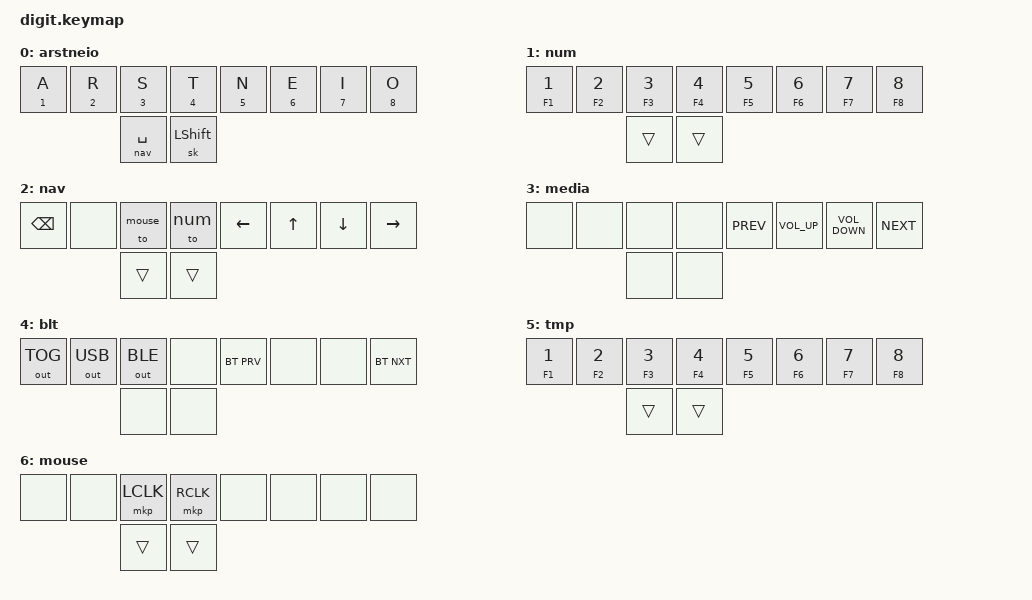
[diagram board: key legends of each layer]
#include <behaviors.dtsi>
#include <dt-bindings/zmk/keys.h>
#include <dt-bindings/zmk/bt.h>
#include <dt-bindings/zmk/mouse.h>
#include "util.h"
#include <dt-bindings/zmk/outputs.h>
&lt {
    tapping-term-ms = <250>;
    quick-tap-ms = <150>;
    flavor = "tap-preferred";
    require-prior-idle-ms = <80>;
    };
&mt {
    tapping-term-ms = <200>;
    quick-tap-ms = <150>;
    flavor = "tap-preferred";
    };
&sk {
    release-after-ms = <10000>;
    quick-release;
    };
#define arstneio 0
#define num 1
#define nav 2
#define media 3
#define blt 4
#define tmp 5
#define mouse 6

/ {
     behaviors {
             snv: spaceornav {
            compatible = "zmk,behavior-hold-tap";
            label = "holdtap";
            #binding-cells = <2>;
            tapping-term-ms = <300>;
            quick-tap-ms = <100>;
            global-quick-tap;
            bindings = <&mo>, <&kp>;
            require-prior-idle-ms = <30>;
            hold-trigger-key-positions = <4 5 6 7>;
         };
             sc: shiftorcaps {
            compatible = "zmk,behavior-tap-dance";
            label = "TAP_DANCE_0";
            #binding-cells = <0>;
            tapping-term-ms = <700>;
            bindings = <&sk LSHIFT>, <&mo num>;
        };

             bsp: bsphold {
            compatible = "zmk,behavior-hold-tap";
            label = "bsphold";
            #binding-cells = <2>;
            tapping-term-ms = <80>;
            flavor = "hold-preferred";
            quick-tap-ms = <10000>;
            bindings = <&kp>, <&kp>;
         };
             ee: entoresc {
            compatible = "zmk,behavior-mod-morph";
            label = "MOD_MORPH_EE";
            #binding-cells = <0>;
            bindings = <&kp ENTER>, <&kp ESC>;
            mods = <(MOD_LSFT)>;
        };

             htal: torhalt {
            compatible = "zmk,behavior-tap-dance";
            label = "TAP_DANCE_2";
            #binding-cells = <0>;
            tapping-term-ms = <500>;
            bindings = <&sk LALT>, <&kt LALT>;
        };
             htct: torhctrl {
            compatible = "zmk,behavior-tap-dance";
            label = "TAP_DANCE_2";
            #binding-cells = <0>;
            tapping-term-ms = <500>;
            bindings = <&sk LCTRL>, <&kt LCTRL>;
        };
             ZMK_MACRO(winright,
              wait-ms = <1>;
              tap-ms = <1>;
              bindings =<&macro_press &kp LALT>,
                        <&macro_tap &kp TAB>,
                        <&macro_release &kp LALT>;

              )
             ZMK_MACRO(winleft,
              wait-ms = <1>;
              tap-ms = <1>;
              bindings =<&macro_press &kp LALT>,
                        <&macro_tap &sk LSHIFT>,
                        <&macro_tap &kp TAB>,
                        <&macro_release &kp LALT>;
              )
             ZMK_MACRO(string_sim,
              wait-ms = <1>;
              tap-ms = <1>;
              bindings =<&kp S &kp I &kp M &kp U &kp L &kp A &kp T &kp I &kp O &kp N>;
              )
             ZMK_MACRO(string_what,
              wait-ms = <1>;
              tap-ms = <1>;
              bindings = <&kp W &kp H &kp A &kp T>;
              )

              ZMK_MACRO(string_had,
              wait-ms = <1>;
              tap-ms = <1>;
              bindings = <&kp H &kp A &kp D>;
              )
             ZMK_MACRO(string_who,
              wait-ms = <1>;
              tap-ms = <1>;
              bindings = <&kp W &kp H &kp O>;
              )
             ZMK_MACRO(string_qu,
              wait-ms = <1>;
              tap-ms = <1>;
              bindings = <&kp Q &kp U>;
              )
             ZMK_MACRO(string_mass,
              wait-ms = <1>;
              tap-ms = <1>;
              bindings = <&kp M &kp A &kp S &kp S>;
              )
             ZMK_MACRO(string_again,
              wait-ms = <1>;
              tap-ms = <1>;
              bindings = <&kp A &kp G &kp A &kp I &kp N>;
              )
             ZMK_MACRO(string_against,
              wait-ms = <1>;
              tap-ms = <1>;
              bindings = <&kp A &kp G &kp A &kp I &kp N &kp S &kp T>;
              )
             ZMK_MACRO(string_each,
              wait-ms = <1>;
              tap-ms = <1>;
              bindings = <&kp E &kp A &kp C &kp H>;
              )
             ZMK_MACRO(string_ink,
              wait-ms = <1>;
              tap-ms = <1>;
              bindings = <&kp I &kp N &kp K>;
              )
             ZMK_MACRO(string_change,
              wait-ms = <1>;
              tap-ms = <1>;
              bindings = <&kp C &kp H &kp A &kp N &kp G &kp E>;
              )
             ZMK_MACRO(string_system,
              wait-ms = <1>;
              tap-ms = <1>;
              bindings = <&kp S &kp Y &kp S &kp T &kp E &kp M>;
              )
             ZMK_MACRO(string_program,
              wait-ms = <1>;
              tap-ms = <1>;
              bindings = <&kp P &kp R &kp O &kp G &kp R &kp A &kp M>;
              )
             ZMK_MACRO(string_resolution,
              wait-ms = <1>;
              tap-ms = <1>;
              bindings = <&kp R &kp E &kp S &kp O &kp L &kp U &kp T &kp I &kp O &kp N>;
              )
             ZMK_MACRO(string_about,
              wait-ms = <1>;
              tap-ms = <1>;
              bindings = <&kp A &kp B &kp O &kp U &kp T>;
              )
             ZMK_MACRO(string_ever,
              wait-ms = <1>;
              tap-ms = <1>;
              bindings = <&kp E &kp V &kp E &kp R>;
              )
             ZMK_MACRO(string_come,
              wait-ms = <1>;
              tap-ms = <1>;
              bindings = <&kp C &kp O &kp M &kp E>;
              )
             ZMK_MACRO(string_cool,
              wait-ms = <1>;
              tap-ms = <1>;
              bindings = <&kp C &kp O &kp O &kp L>;
              )
             ZMK_MACRO(string_find,
              wait-ms = <1>;
              tap-ms = <1>;
              bindings = <&kp F &kp I &kp N &kp D>;
              )
             ZMK_MACRO(string_now,
              wait-ms = <1>;
              tap-ms = <1>;
              bindings = <&kp N &kp O &kp W>;
              )
             ZMK_MACRO(string_will,
              wait-ms = <1>;
              tap-ms = <1>;
              bindings = <&kp W &kp I &kp L &kp L>;
              )
             ZMK_MACRO(string_when,
              wait-ms = <1>;
              tap-ms = <1>;
              bindings = <&kp W &kp H &kp E &kp N>;
              )
             ZMK_MACRO(string_also,
              wait-ms = <1>;
              tap-ms = <1>;
              bindings = <&kp A &kp L &kp S &kp O>;
              )
             ZMK_MACRO(string_here,
              wait-ms = <1>;
              tap-ms = <1>;
              bindings = <&kp H &kp E &kp R &kp E>;
              )
             ZMK_MACRO(string_individual,
              wait-ms = <1>;
              tap-ms = <1>;
              bindings = <&kp I &kp N &kp D &kp I &kp V &kp I &kp D &kp U &kp A &kp L>;
              )
             ZMK_MACRO(string_has,
              wait-ms = <1>;
              tap-ms = <1>;
              bindings = <&kp H &kp A &kp S>;
              )
             ZMK_MACRO(string_basically,
              wait-ms = <1>;
              tap-ms = <1>;
              bindings = <&kp B &kp A &kp S &kp I &kp C &kp A &kp L &kp L &kp Y>;
              )
             ZMK_MACRO(string_away,
              wait-ms = <1>;
              tap-ms = <1>;
              bindings = <&kp A &kp W &kp A &kp Y>;
              )
             ZMK_MACRO(string_progress,
              wait-ms = <1>;
              tap-ms = <1>;
              bindings = <&kp P &kp R &kp O &kp G &kp R &kp E &kp S &kp S>;
              )
             ZMK_MACRO(string_use,
              wait-ms = <1>;
              tap-ms = <1>;
              bindings = <&kp U &kp S &kp E>;
              )
             ZMK_MACRO(string_same,
              wait-ms = <1>;
              tap-ms = <1>;
              bindings = <&kp S &kp A &kp M &kp E>;
              )
             ZMK_MACRO(string_going,
              wait-ms = <1>;
              tap-ms = <1>;
              bindings = <&kp G &kp O &kp I &kp N &kp G>;
              )
             ZMK_MACRO(string_was,
              wait-ms = <1>;
              tap-ms = <1>;
              bindings = <&kp W &kp A &kp S>;
              )
             ZMK_MACRO(string_range,
              wait-ms = <1>;
              tap-ms = <1>;
              bindings = <&kp R &kp A &kp N &kp G &kp E>;
              )
             ZMK_MACRO(string_out,
              wait-ms = <1>;
              tap-ms = <1>;
              bindings = <&kp O &kp U &kp T>;
              )
             ZMK_MACRO(string_astrophysics,
              wait-ms = <1>;
              tap-ms = <1>;
              bindings = <&kp A &kp S &kp T &kp R &kp O &kp P &kp H &kp Y &kp S &kp I &kp C &kp S>;
              )
             ZMK_MACRO(string_over,
              wait-ms = <1>;
              tap-ms = <1>;
              bindings = <&kp O &kp V &kp E &kp R>;
              )
             ZMK_MACRO(string_join,
              wait-ms = <1>;
              tap-ms = <1>;
              bindings = <&kp J &kp O &kp I &kp N>;
              )
             ZMK_MACRO(string_give,
              wait-ms = <1>;
              tap-ms = <1>;
              bindings = <&kp G &kp I &kp V &kp E>;
              )
             ZMK_MACRO(string_ously,
              wait-ms = <1>;
              tap-ms = <1>;
              bindings = <&kp O &kp U &kp S &kp L &kp Y>;
              )
             ZMK_MACRO(string_ous,
              wait-ms = <1>;
              tap-ms = <1>;
              bindings = <&kp O &kp U &kp S>;
              )
             ZMK_MACRO(string_say,
              wait-ms = <1>;
              tap-ms = <1>;
              bindings = <&kp S &kp A &kp Y>;
              )
             ZMK_MACRO(string_eigh,
              wait-ms = <1>;
              tap-ms = <1>;
              bindings = <&kp E &kp I &kp G &kp H>;
              )
             ZMK_MACRO(string_some,
              wait-ms = <1>;
              tap-ms = <1>;
              bindings = <&kp S &kp O &kp M &kp E>;
              )
             ZMK_MACRO(string_follow,
              wait-ms = <1>;
              tap-ms = <1>;
              bindings = <&kp F &kp O &kp L &kp L &kp O &kp W>;
              )
             ZMK_MACRO(string_sure,
              wait-ms = <1>;
              tap-ms = <1>;
              bindings = <&kp S &kp U &kp R &kp E>;
              )
             ZMK_MACRO(string_plan,
              wait-ms = <1>;
              tap-ms = <1>;
              bindings = <&kp P &kp L &kp A &kp N>;
              )
             ZMK_MACRO(string_more,
              wait-ms = <1>;
              tap-ms = <1>;
              bindings = <&kp M &kp O &kp R &kp E>;
              )
             ZMK_MACRO(string_the,
              wait-ms = <1>;
              tap-ms = <1>;
              bindings = <&kp T &kp H &kp E>;
              )
             ZMK_MACRO(string_ready,
              wait-ms = <1>;
              tap-ms = <1>;
              bindings = <&kp R &kp E &kp A &kp D &kp Y>;
              )
             ZMK_MACRO(string_there,
              wait-ms = <1>;
              tap-ms = <1>;
              bindings = <&kp T &kp H &kp E &kp R &kp E>;
              )
             ZMK_MACRO(string_you,
              wait-ms = <1>;
              tap-ms = <1>;
              bindings = <&kp Y &kp O &kp U>;
              )
             ZMK_MACRO(string_vim,
              wait-ms = <1>;
              tap-ms = <1>;
              bindings = <&kp V &kp I &kp M>;
              )
             ZMK_MACRO(string_and,
              wait-ms = <1>;
              tap-ms = <1>;
              bindings = <&kp A &kp N &kp D>;
              )
             ZMK_MACRO(string_star,
              wait-ms = <1>;
              tap-ms = <1>;
              bindings = <&kp S &kp T &kp A &kp R>;
              )
             ZMK_MACRO(string_cluster,
              wait-ms = <1>;
              tap-ms = <1>;
              bindings = <&kp C &kp L &kp U &kp S &kp T &kp E &kp R>;
              )
             ZMK_MACRO(string_for,
              wait-ms = <1>;
              tap-ms = <1>;
              bindings = <&kp F &kp O &kp R>;
              )
             ZMK_MACRO(string_how,
              wait-ms = <1>;
              tap-ms = <1>;
              bindings = <&kp H &kp O &kp W>;
              )
             ZMK_MACRO(string_well,
              wait-ms = <1>;
              tap-ms = <1>;
              bindings =<&kp W &kp E &kp L &kp L >;
              )
             ZMK_MACRO(string_while,
              wait-ms = <1>;
              tap-ms = <1>;
              bindings = <&kp W &kp H &kp I &kp L &kp E>;
              )
             ZMK_MACRO(string_ing,
              wait-ms = <1>;
              tap-ms = <1>;
              bindings = <&kp I &kp N &kp G>;
              )
             ZMK_MACRO(string_just,
              wait-ms = <1>;
              tap-ms = <1>;
              bindings = <&kp J &kp U &kp S &kp T>;
              )
             ZMK_MACRO(string_igh,
              wait-ms = <1>;
              tap-ms = <1>;
              bindings = <&kp I &kp G &kp H>;
              )

             ZMK_MACRO(string_ough,
              wait-ms = <1>;
              tap-ms = <1>;
              bindings = <&kp O &kp U &kp G &kp H >;
              )

             ZMK_MACRO(string_ion,
              wait-ms = <1>;
              tap-ms = <1>;
              bindings = <&kp I &kp O &kp N>;
              )

             ZMK_MACRO(string_those,
              wait-ms = <1>;
              tap-ms = <1>;
              bindings = <&kp T &kp H &kp O &kp S &kp E>;
              )

             ZMK_MACRO(string_particle,
              wait-ms = <1>;
              tap-ms = <1>;
              bindings = <&kp P &kp A &kp R &kp T &kp I &kp C &kp L &kp E>;
              )

             ZMK_MACRO(string_hydrodynamics,
              wait-ms = <1>;
              tap-ms = <1>;
              bindings = <&kp H &kp Y &kp D &kp R &kp O &kp D &kp Y &kp N &kp A &kp M &kp I &kp C &kp S>;
              )

             ZMK_MACRO(string_interest,
              wait-ms = <1>;
              tap-ms = <1>;
              bindings = <&kp I &kp N &kp T &kp E &kp R &kp E &kp S &kp T>;
              )
             ZMK_MACRO(string_ould,
              wait-ms = <1>;
              tap-ms = <1>;
              bindings = <&kp O &kp U &kp L &kp D>;
              )
             ZMK_MACRO(string_first,
              wait-ms = <1>;
              tap-ms = <1>;
              bindings = <&kp F &kp I &kp R &kp S &kp T>;
              )
             ZMK_MACRO(string_have,
              wait-ms = <1>;
              tap-ms = <1>;
              bindings = <&kp H &kp A &kp V &kp E>;
              )
             ZMK_MACRO(string_that,
              wait-ms = <1>;
              tap-ms = <1>;
              bindings = <&kp T &kp H &kp A &kp T>;
              )
             ZMK_MACRO(string_which,
              wait-ms = <1>;
              tap-ms = <1>;
              bindings = <&kp W &kp H &kp I &kp C &kp H>;
              )
             ZMK_MACRO(string_make,
              wait-ms = <1>;
              tap-ms = <1>;
              bindings = <&kp M &kp A &kp K &kp E>;
              )
             ZMK_MACRO(string_function,
              wait-ms = <1>;
              tap-ms = <1>;
              bindings = <&kp F &kp U &kp N &kp C &kp T &kp I &kp O &kp N>;
              )
             ZMK_MACRO(string_real,
              wait-ms = <1>;
              tap-ms = <1>;
              bindings = <&kp R &kp E &kp A &kp L>;
              )
             ZMK_MACRO(string_take,
              wait-ms = <1>;
              tap-ms = <1>;
              bindings = <&kp T &kp A &kp K &kp E>;
              )
             ZMK_MACRO(string_good,
              wait-ms = <1>;
              tap-ms = <1>;
              bindings = <&kp G &kp O &kp O &kp D>;
              )
             ZMK_MACRO(string_print,
              wait-ms = <1>;
              tap-ms = <1>;
              bindings = <&kp P &kp R &kp I &kp N &kp T>;
              )
             ZMK_MACRO(string_ause,
              wait-ms = <1>;
              tap-ms = <1>;
              bindings = <&kp A &kp U &kp S &kp E>;
              )
             ZMK_MACRO(string_this,
              wait-ms = <1>;
              tap-ms = <1>;
              bindings = <&kp T &kp H &kp I &kp S>;
              )
             ZMK_MACRO(string_ound,
              wait-ms = <1>;
              tap-ms = <1>;
              bindings = <&kp O &kp U &kp N &kp D>;
              )
             ZMK_MACRO(string_done,
              wait-ms = <1>;
              tap-ms = <1>;
              bindings = <&kp D &kp O &kp N &kp E>;
              )
             ZMK_MACRO(string_with,
              wait-ms = <1>;
              tap-ms = <1>;
              bindings = <&kp W &kp I &kp T &kp H>;
              )
             ZMK_MACRO(combo_ctrlC,
              wait-ms = <1>;
              tap-ms = <1>;
              bindings =<&macro_press &kp LCTRL>
              ,<&macro_tap &kp C>
              ,<&macro_release &kp LCTRL>;
              )
             ZMK_MACRO(combo_ctrlV,
              wait-ms = <1>;
              tap-ms = <1>;
              bindings =<&macro_press &kp LCTRL>
              ,<&macro_tap &kp V>
              ,<&macro_release &kp LCTRL>;
              )
             };
      conditional_layers {
        compatible = "zmk,conditional-layers";
        num {
          if-layers = <1 2>;
          then-layer = <5>;
      };
    };
     keymap {
             compatible = "zmk,keymap";

             arstneio {
             bindings = <
             &mt N1 A &mt N2 R &mt N3 S  &mt N4 T  &mt N5 N &mt N6 E  &mt N7 I  &mt N8 O
                                &lt nav SPACE &sk LSHFT
             >;
             };
             num {
             bindings = <
             &mt F1 N1 &mt F2 N2 &mt F3 N3 &mt F4 N4 &mt F5 N5 &mt F6 N6 &mt F7 N7 &mt F8 N8
                                   &trans &trans
            >;
            };
            nav {
            bindings = <
            &kp BSPC &none &to mouse &to num &kp LEFT &kp UP &kp DOWN &kp RIGHT
                               &trans &trans
            >;
            };
            media {
            bindings = <
            &none &none &none &none &kp C_PREV &kp C_VOLUME_UP &kp C_VOLUME_DOWN &kp C_NEXT
                              &none &none
            >;
            };
            blt {
            bindings = <
            &out OUT_TOG &out OUT_USB &out OUT_BLE &none &bt BT_PRV &none &none &bt BT_NXT
                              &none &none
            >;
            };
             tmp {
             bindings = <
             &mt F1 N1 &mt F2 N2 &mt F3 N3 &mt F4 N4 &mt F5 N5 &mt F6 N6 &mt F7 N7 &mt F8 N8
                                   &trans &trans
            >;
            };
             mouse {
             bindings = <
             &none &none &mkp LCLK &mkp RCLK &none &none &none &none   
                                   &trans &trans
            >;
            };
     };

    combos {
            compatible ="zmk,combos";
            combo_num {
               timeout-ms = <100>;
               key-positions = <0 1 2 3>;
               layers = <arstneio nav media blt>;
               bindings = <&to num>;
            };
            comb_numarst {
               timeout-ms = <100>;
               key-positions = <0 1 2 3>;
               layers = <num>;
               bindings = <&to arstneio>;
            };
//            combo_nav {
//               timeout-ms = <100>;
//               key-positions = <4 5 6 7>;
//               layers = <arstneio num media blt>;
//               bindings = <&to nav>;
//            };
            combo_navarst {
                timeout-ms = <100>;
                key-positions = <4 5 6 7>;
                layers = <nav>;
                bindings = <&to arstneio>;
            };
            combo_media {
               timeout-ms = <100>;
               key-positions = <2 4>;
               layers = <nav>;
               bindings = <&tog media>;

            };
            combo_mediaarst {
                timeout-ms = <100>;
                key-positions = <0 1 2 3 4 5 6 7 8 9>;
                layers = <media>;
                bindings = <&to arstneio>;
            };
            combo_blt {
               timeout-ms = <100>;
               key-positions = <3 4 8 9>;
               layers = <arstneio nav media num>;
               bindings = <&to blt>;
            };
            combo_bltarst {
               timeout-ms = <100>;
               key-positions = <3 4 8 9>;
               layers = <blt>;
               bindings = <&to arstneio>;
               };
             combo_ent {
                timeout-ms = <80>;
                key-positions = <8 9>;
                bindings = <&ee>;
            };
             combo_alt {
               timeout-ms = <90>;
               key-positions = <0 3 8>;
               require-prior-idle-ms = <200>;
               bindings = <&htal>;
            };
             combo_alttog {
               timeout-ms = <100>;
               key-positions = <0 3 8 9>;
               bindings = <&kt LALT>;
            };
             combo_back {
               timeout-ms = <100>;
               key-positions = <0 7>;
               bindings = <&kp SEMICOLON>;
            };
              combo_boot {
               timeout-ms = <100>;
               key-positions = <0 1 2 5 6 7>;
               bindings = <&bootloader>;
            };
              combo_rst {
               timeout-ms = <100>;
               key-positions = <0 1 2 3 4 5 6 7>;
               bindings = <&sys_reset>;
            };
              combo_ctrl_o {
               timeout-ms = <60>;
               key-positions = <7 8>;
               bindings = <&kp LC(O)>;
            };
              combo_bsword {
               timeout-ms = <120>;
               key-positions = <6 7 9>;
               bindings = <&kp LC(BSPC)>;
            };
            combo_ctrl {
               timeout-ms = <60>;
               key-positions = <1 3 8>;
               require-prior-idle-ms = <200>;
               bindings = <&sk LCTRL>;
            };
            combo_ctrltog {
               timeout-ms = <200>;
               key-positions = <1 3 8 9>;
               bindings = <&kt LCTRL>;
            };
            combo_lalt {
               timeout-ms = <50>;
               key-positions = <0 3>;
               layers = <nav>;
               bindings = <&kt LALT>;
            };
            combo_tab {
               timeout-ms = <50>;
               slow-release;
               key-positions = <2 3 8>;
               require-prior-idle-ms = <30>;
               bindings = <&kp TAB>;
            };
            combo_tabtog {
               timeout-ms = <60>;
               key-positions = <2 3 8 9>;
               bindings = <&kt TAB>;
            };
            combo_win {
               timeout-ms = <40>;
               key-positions = <0 1 8>;
               require-prior-idle-ms = <200>;
               bindings = <&kp LGUI>;
            };
            combo_wintog {
               timeout-ms = <40>;
               key-positions = <0 1 8 9>;
               bindings = <&kt LGUI>;
            };
            combo_comma {
               timeout-ms = <60>;
               key-positions = <2 5>;
               layers = <num arstneio>;
               slow-release;
               bindings = <&kp COMMA>;
            };

            string_sim {
               timeout-ms = <75>;
               key-positions = <2 4 6>;
               layers = <arstneio>;
               require-prior-idle-ms = <200>;
               bindings = <&string_sim>;
            };
            combo_tempnum {
              timeout-ms = <100>;
              key-positions = <0 1 2 3 8>;
              slow-release;
              bindings = <&mo num>;
            };

            key_repeatr {
               timeout-ms = <50>;
               key-positions = <5 6 9>;
               bindings = <&key_repeat>;
            };
            key_repeatl {
               timeout-ms = <50>;
               key-positions = <1 2 8>;
               bindings = <&key_repeat>;
            };
            bspc {
               timeout-ms = <50>;
               key-positions = <6 7>;
               bindings = <&kp BACKSPACE>;
            };
            COMBOL(dt, &kp DOT,arstneio num tmp, 1 6)
            COMBOLS(ww, &kp W,arstneio , 0 1)
            COMBOLL(xx, &kp X,arstneio , 0 2)
            COMBOLS(pp, &kp P,arstneio , 0 3)
            COMBOL(jj, &kp J,arstneio , 0 4)
            COMBOL(qq, &kp Q,arstneio , 0 5)
            COMBOL(lbrac, &kp LPAR,arstneio nav num tmp, 0 6)
            COMBOLS(ff, &kp F,arstneio , 1 2)
            COMBOLS(cc, &kp C,arstneio , 1 3)
            COMBOLS(kk, &kp K,arstneio , 1 4)
            COMBOLS(zz, &kp Z,arstneio , 1 5)
            COMBOL(rbrac, &kp RPAR,arstneio nav num tmp, 1 7)
            COMBOLS(dd, &kp D,arstneio , 2 3)
            COMBOLS(mm, &kp M,arstneio , 2 4)
            COMBOLS(minus, &kp MINUS,arstneio nav num tmp, 2 6)
            COMBOLS(apos, &kp APOS,arstneio nav num tmp, 2 7)
            COMBOLS(bb, &mt N9 B,arstneio , 3 4)
            COMBOL(gesc, &gresc,nav ,2 5)
            COMBOL(nu9, &mt F9 N9,num tmp, 3 4)
            COMBOLS(vv, &mt N0 V,arstneio , 3 5)
            COMBOL(nten, &mt F10 N0,num tmp, 3 5)
            COMBOLS(gg, &kp G,arstneio, 3 6)
            COMBOL(quest, &mt EQUAL QMARK,arstneio nav num tmp, 3 7)
            COMBOLS(hh, &mt NON_US_HASH H,arstneio , 4 5)
            COMBOL(yy, &kp Y,arstneio , 4 6)
            COMBOLL(ll, &kp L,arstneio , 4 7)
            COMBOL(uu, &kp U,arstneio , 5 6)
            COMBOL(exc, &kp EXCL,arstneio num tmp, 5 7)
            COMBOLL(slash, &kp SLASH,arstneio num tmp, 2 4 7)
            COMBOLL(bslash, &kp NON_US_BSLH,arstneio num tmp, 2 4 7 8)
            COMBOL(home, &kp HOME,arstneio nav num tmp, 4 9)
            COMBOL(end, &kp END,arstneio nav num tmp, 7 9)
            COMBOLL(ribr, &mt RBRC RBKT,arstneio nav num tmp, 1 7 8)
            COMBOLL(lebr, &mt LBRC LBKT,arstneio nav num tmp, 0 6 8)
            COMBOL(play, &kp C_PP, media, 0 3)
            COMBOL(mute, &kp C_MUTE, media, 2 4)
            COMBOL(string_the, &string_the,arstneio, 3 4 5)
            COMBOLL(string_there, &string_there,arstneio, 1 3 4 5)
            COMBOL(string_and, &string_and,arstneio, 0 3 4)
            COMBOL(string_you, &string_you,arstneio, 4 5 6)
            COMBOL(string_vim, &string_vim,arstneio, 3 5 6)
            COMBOL(string_ing, &string_ing,arstneio, 3 4 6)
            COMBOL(string_for, &string_for,arstneio num tmp, 1 2 7)
            COMBOL(string_ion, &string_ion,arstneio, 4 6 7)
            COMBOL(string_star, &string_star,arstneio, 1 2 3)
            COMBOLL(string_cluster, &string_cluster,arstneio, 1 3 4 7)
            COMBOL(string_while, &string_while,arstneio, 0 1 4 5)
            COMBOLL(string_igh, &string_igh,arstneio, 3 4 5 6)
            COMBOLL(string_particle, &string_particle,arstneio, 0 1 3 4 7)
            COMBOLL(string_ould, &string_ould,arstneio, 5 6 7)
            COMBOLL(string_ough, &string_ough,arstneio, 1 2 5 6)
            COMBOL(string_hydrodynamics, &string_hydrodynamics ,arstneio, 2 3 4 5 9)
            COMBOLL(string_interest, &string_interest,arstneio, 4 5 6 9)
            COMBOLL(string_function, &string_function,arstneio, 1 2 5 6 9)
            COMBOLL(string_have, &string_have,arstneio, 0 3 5)
            COMBOLL(string_that, &string_that,arstneio, 0 3 4 5)
            COMBOL(string_with, &string_with,arstneio, 0 1 6)
            COMBOLL(string_what, &string_what,arstneio, 0 1 3 7)
            COMBOL(string_who, &string_who,arstneio, 0 1 7)
            COMBOLL(string_which, &string_which,arstneio, 0 1 3)
            COMBOLL(string_make, &string_make,arstneio, 0 1 2 4)
            COMBOL(string_real, &string_real,arstneio, 1 4 7)
            COMBOLL(string_take, &string_take,arstneio, 0 1 3 4)
            COMBOLL(string_good, &string_good,arstneio, 2 3 6 7)
            COMBOL(string_done, &string_done,arstneio, 2 3 4 7)
            COMBOLL(string_ound, &string_ound,arstneio, 2 3 5 6 7)
            COMBOLL(string_ause, &string_ause,arstneio, 0 2 5 6)
            COMBOL(string_had, &string_had,arstneio, 2 3 4 5)
            COMBOLL(string_print, &string_print,arstneio, 0 1 3 6)
            COMBOL(string_well, &string_well,arstneio nav num tmp, 0 1 5)
            COMBOL(string_just, &string_just,arstneio, 2 3 4)
            COMBOLL(string_those, &string_those,arstneio, 3 4 5 7)
            COMBOL(string_first, &string_first,arstneio, 1 2 6)
            COMBOLL(string_this, &string_this,arstneio, 2 3 4 5 8)
            COMBOLL(string_how, &string_how,arstneio, 4 5 7)
            COMBOL(string_qu, &string_qu,arstneio, 0 5 6)
            COMBOL(string_mass, &string_mass,arstneio, 0 2 4)
            COMBOLL(string_again, &string_again,arstneio, 0 3 6)
            COMBOLL(string_against, &string_against,arstneio, 0 2 3 6)
            COMBOL(string_each, &string_each,arstneio, 0 4 5)
            COMBOL(string_ink, &string_ink,arstneio, 1 4 6)
            COMBOLL(string_change, &string_change,arstneio, 1 3 4 5 6)
            COMBOLL(string_system, &string_system,arstneio, 2 3 4 6 9)
            COMBOLL(string_program, &string_program,arstneio, 0 1 3 7 9)
            COMBOLL(string_progress, &string_progress,arstneio, 0 1 3 6 7)
            COMBOLL(string_resolution, &string_resolution,arstneio, 1 4 5 6 7)
            COMBOLL(string_about, &string_about,arstneio, 3 4 5 6 7)
            COMBOLL(string_ever, &string_ever,arstneio, 1 3 5)
            COMBOL(string_come, &string_come,arstneio, 1 3 7)
            COMBOLL(string_cool, &string_cool,arstneio, 1 3 7 9)
            COMBOL(string_find, &string_find,arstneio, 1 2 4)
            COMBOLL(string_will, &string_will,arstneio, 0 1 4 7)
            COMBOL(string_also, &string_also,arstneio, 0 4 7)
            COMBOLL(string_when, &string_when,arstneio, 0 1 4)
            COMBOL(string_away, &string_away,arstneio, 0 1 4 6)
            COMBOL(string_basically, &string_basically,arstneio, 0 6 7)
            COMBOL(string_here, &string_here,arstneio, 1 4 5)
            COMBOLL(string_ready, &string_ready,arstneio, 1 2 3 4 6)
            COMBOL(string_individual, &string_individual,arstneio, 2 3 4 6)
            COMBOL(string_use, &string_use,arstneio, 2 5 6)
            COMBOLL(string_same, &string_same,arstneio, 0 2 4 5)
            COMBOL(string_has, &string_has,arstneio, 2 4 5)
            COMBOLL(string_going, &string_going,arstneio, 3 4 6 7)
            COMBOL(string_was, &string_was,arstneio, 0 1 2)
            COMBOLL(string_range, &string_range,arstneio, 1 3 4 6)
            COMBOLL(string_out, &string_out,arstneio, 3 5 6 7)
            COMBOL(string_astrophysics, &string_astrophysics,arstneio, 0 2 3 8)
            COMBOL(string_over, &string_over,arstneio, 1 3 5 7)
            COMBOLL(string_join, &string_join,arstneio, 0 4 6 7)
            COMBOLL(string_give, &string_give,arstneio, 3 5 6 8)
            COMBOLL(string_ous, &string_ous,arstneio, 2 5 6 7)
            COMBOLL(string_ously, &string_ously,arstneio, 2 4 5 6 7)
            COMBOL(string_say, &string_say,arstneio, 0 4 6)
            COMBOLL(string_eigh, &string_eigh,arstneio, 3 4 5 6 9)
            COMBOLL(string_some, &string_some,arstneio, 2 4 6 7)
            COMBOLL(string_follow, &string_follow,arstneio, 0 1 2 4 7)
            COMBOL(string_sure, &string_sure,arstneio, 1 2 5 6 8)
            COMBOLL(string_plan, &string_plan,arstneio, 0 3 4 7)
            COMBOLL(string_more, &string_more,arstneio, 1 2 4 7)
            COMBOSR(combo_ctrlC, &kp LC(C), 2 8)
            COMBOSR(combo_ctrlV, &kp LC(V), 3 8)
            COMBOSR(combo_ctrlS, &kp LC(S), 1 2 3 8)
    };
     };
